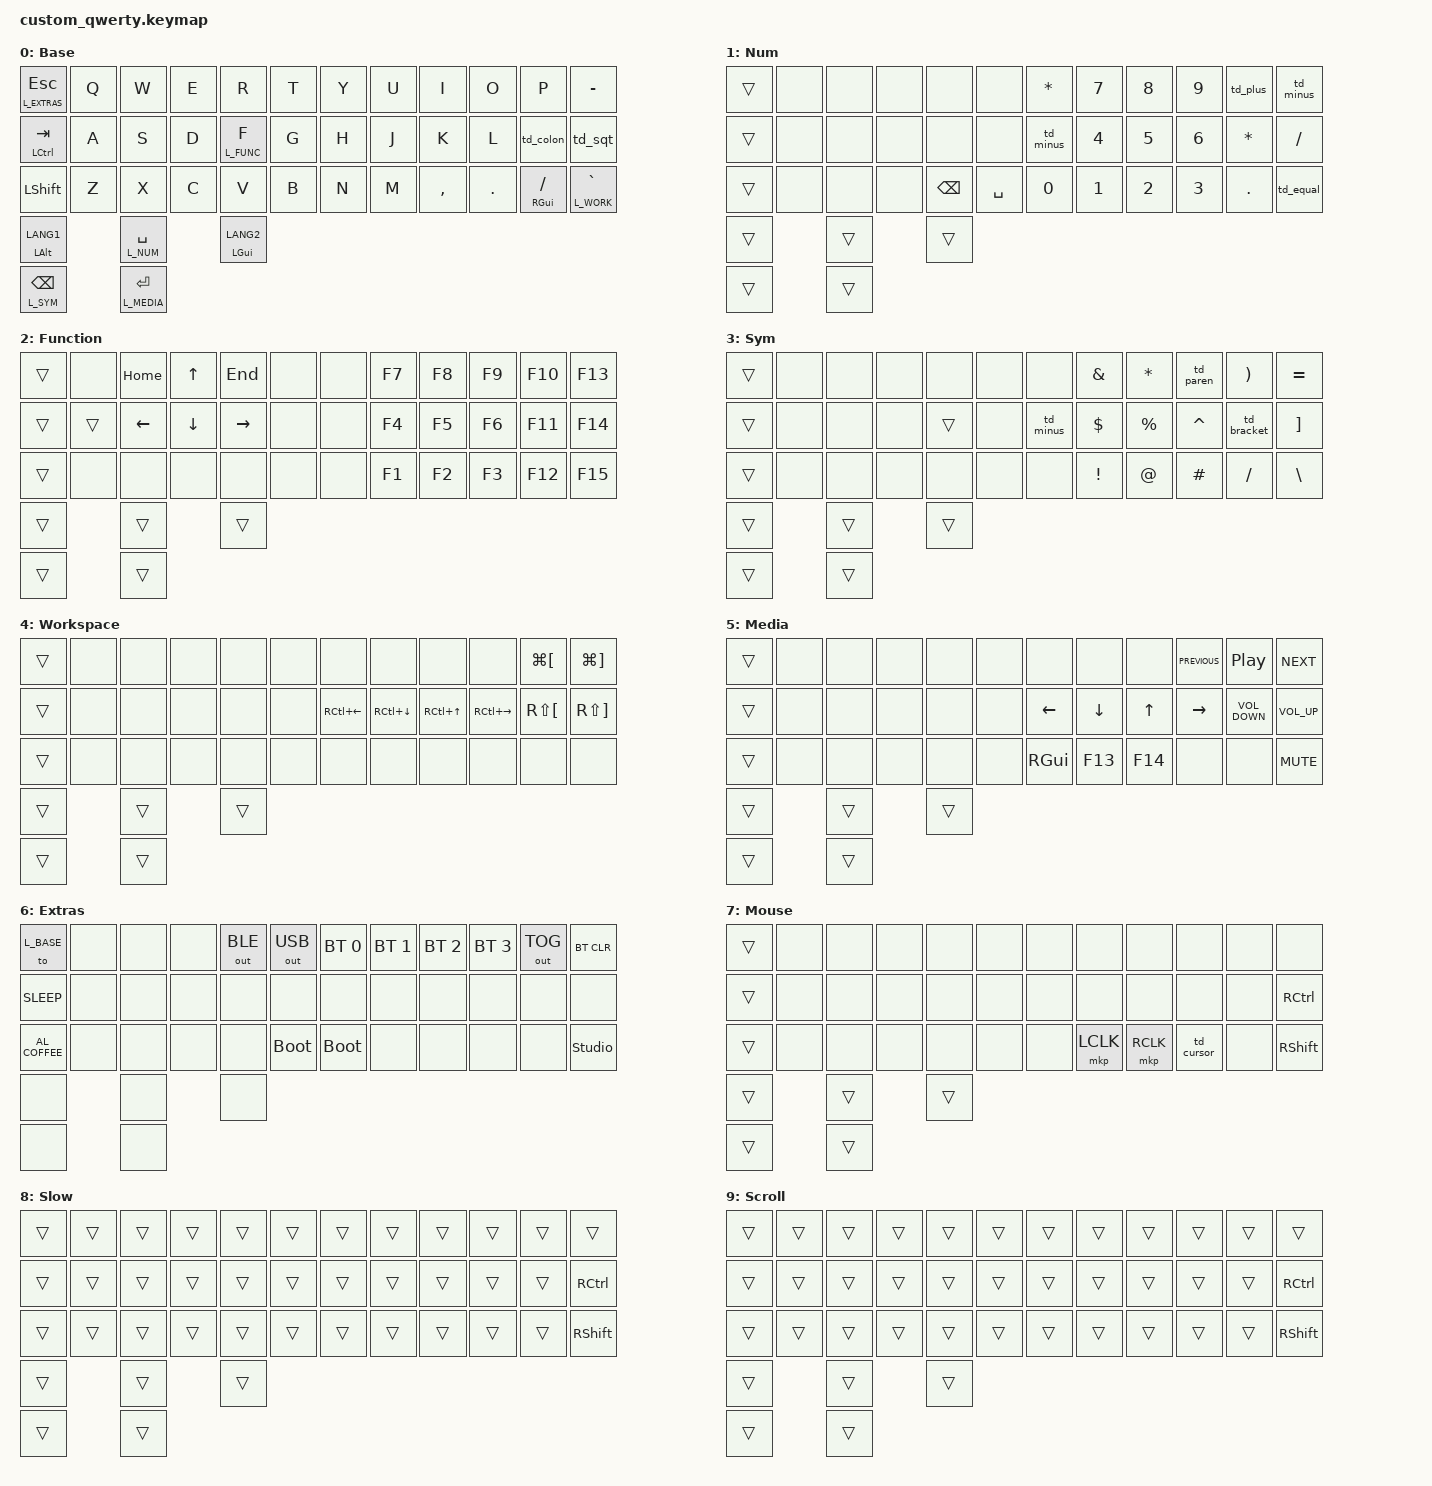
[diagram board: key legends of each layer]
#include <dt-bindings/zmk/mouse.h>
#include <behaviors/mouse_keys.dtsi>
#include <behaviors.dtsi>
#include <dt-bindings/zmk/bt.h>
#include <dt-bindings/zmk/keys.h>
#include <dt-bindings/zmk/outputs.h>
#include <dt-bindings/zmk/pointing.h>
#include <dt-bindings/zmk/input_transform.h>
#include <input/processors.dtsi>

#define L_BASE      0
#define L_NUM       1
#define L_FUNC      2
#define L_SYM       3
#define L_WORK      4
#define L_MEDIA     5
#define L_EXTRAS    6
#define L_MOUSE     7
#define L_SLOW      8
#define L_SCROLL    9

#define D_KANA      LANG1
#define D_EN        LANG2


/*-------------------------------------------------------
* combos
-------------------------------------------------------*/
/ {
    combos {
        compatible = "zmk,combos";
        // g+hでCapsLock
        CapsWord {
            bindings = <&caps_word>;
            key-positions = <17 18>;
            layers = <L_BASE>;
        };

        // ,+.でMiddleClic
        MiddleClick {
            bindings = <&mkp MCLK>;
            key-positions = <32 33>;
            layers = <L_MOUSE>;
        };
    };
};

/*-------------------------------------------------------
* macros
-------------------------------------------------------*/
/* " SPACE + 任意キー + SPACE " を作る共通マクロ */
#define WRAP_SYMBOL_MACRO(name, symbol_key) \
    name: name { \
        compatible = "zmk,behavior-macro"; \
        #binding-cells = <0>; \
        bindings = \
            <&macro_tap>, <&kp SPACE>, \
            <&macro_tap>, <&kp symbol_key>, \
            <&macro_tap>, <&kp SPACE>; \
    };

/* 括弧系を量産する共通マクロ: "()" */
#define WRAP_PAIR_MACRO(name, left_key, right_key) \
    name: name { \
        compatible = "zmk,behavior-macro"; \
        #binding-cells = <0>; \
        bindings = \
            <&macro_tap>, <&kp left_key>, \
            <&macro_tap>, <&kp right_key>, \
            <&macro_pause_for_release>, \
            <&macro_release>, <&kp LEFT_SHIFT>, \
            <&macro_release>, <&kp RIGHT_SHIFT>, \
            <&macro_tap>, <&kp LEFT_ARROW>; \
    };

/ {
    macros {
        WRAP_SYMBOL_MACRO(minus_macro,  MINUS) // " - "
        WRAP_SYMBOL_MACRO(equals_macro, EQUAL) // " = "
        WRAP_SYMBOL_MACRO(plus_macro,   PLUS)  // " + "
        WRAP_SYMBOL_MACRO(colon_macro,  COLON) // " : "

        WRAP_PAIR_MACRO(paren_macro,     LEFT_PARENTHESIS, RIGHT_PARENTHESIS) // ()
        WRAP_PAIR_MACRO(bracket_macro,   LEFT_BRACKET,     RIGHT_BRACKET)     // []
        WRAP_PAIR_MACRO(brace_macro,     LEFT_BRACE,       RIGHT_BRACE)       // {}
        WRAP_PAIR_MACRO(brace_sqt,       APOSTROPHE,       APOSTROPHE)        // ''
        WRAP_PAIR_MACRO(brace_dqt,       DQT,              DQT)               // ""

        // ホームディレクトリパス: "~/"（ファイルパス入力用）
        home_macro: home_macro {
            compatible = "zmk,behavior-macro";
            #binding-cells = <0>;
            bindings = <&macro_tap>, <&kp TILDE>, <&macro_tap>, <&kp FSLH>;
        };
    };
};

/*-------------------------------------------------------
* behaviors
-------------------------------------------------------*/

/ {
    behaviors {
        // シングルタップとダブルタップを設定
        #define TAP_DANCE(name, single_tap, double_tap) \
            name: name { \
                compatible = "zmk,behavior-tap-dance"; \
                #binding-cells = <0>; \
                tapping-term-ms = <300>; \
                bindings = single_tap, double_tap; \
            }

        // ホームローモッド（基本）: キーを押し続けると修飾キー、タップすると通常キー
        hm: homerow_mod {
            compatible = "zmk,behavior-hold-tap";
            #binding-cells = <2>;
            flavor = "tap-preferred"; //
            tapping-term-ms = <120>; // この時間以上押し続けると修飾キーとして動作
            quick-tap-ms = <150>; // この時間内に再度タップすると常に通常キーとして動作
            require-prior-idle-ms = <185>; // 前のキーからこの時間以上経過している必要がある
            bindings = <&kp>, <&kp>;

            // hold, tap
        };

        // 2レイヤー切り替え: ホールドでモーメンタリ、タップでトグル
        httl: ht_two_layers {
            compatible = "zmk,behavior-hold-tap";
            bindings = <&mo>, <&to>;
            #binding-cells = <2>;
            flavor = "balanced";
            tapping-term-ms = <125>;
        };

        // スクロール/カーソル切り替え: ホールドでSCROLL、タップでSLOW（legacy td_cursor）
        td_cursor: td_scroll_or_cursor {
            compatible = "zmk,behavior-tap-dance";
            #binding-cells = <0>;
            tapping-term-ms = <200>;
            bindings = <&mo L_SCROLL>, <&mo L_SLOW>;
        };

        // ベース/エクストラ切り替え: タップでレイヤー6、ダブルタップでレイヤー0
        td_bore: BASE_or_EXTRA {
            compatible = "zmk,behavior-tap-dance";
            #binding-cells = <0>;
            bindings = <&mo L_EXTRAS>, <&to L_BASE>;
        };

        /*-------------------------------------------------------
        * tap-dance
        -------------------------------------------------------*/
        TAP_DANCE(td_minus, <&kp MINUS>,<&minus_macro>); // " - "
        TAP_DANCE(td_equal, <&kp EQUAL>,<&equals_macro>); // " = "
        TAP_DANCE(td_plus,  <&kp PLUS>,  <&plus_macro>); // " + "
        TAP_DANCE(td_colon, <&kp SEMICOLON>,<&colon_macro>); // " : "

        TAP_DANCE(td_paren,   <&kp LEFT_PARENTHESIS>, <&paren_macro>); // ()
        TAP_DANCE(td_bracket, <&kp LEFT_BRACKET>,     <&bracket_macro>); // []
        TAP_DANCE(td_brace,   <&kp LEFT_BRACE>,       <&brace_macro>); // {}
        TAP_DANCE(td_sqt,     <&kp APOSTROPHE>,       <&brace_sqt>); // ''
    };
};

/ {
    keymap {
        compatible = "zmk,keymap";

        BASE {
            display-name = "Base";
            bindings = <
              &lt L_EXTRAS ESC &kp Q  &kp W  &kp E  &kp R          &kp T       &kp Y  &kp U  &kp I      &kp O       &kp P          &kp MINUS
              &hm LCTRL TAB    &kp A  &kp S  &kp D  &lt L_FUNC F   &kp G       &kp H  &kp J  &kp K      &kp L       &td_colon      &td_sqt
              &kp LEFT_SHIFT   &kp Z  &kp X  &kp C  &kp V          &kp B       &kp N  &kp M  &kp COMMA  &kp PERIOD  &hm RGUI FSLH  &lt L_WORK GRAVE

              &hm LALT  D_KANA     &lt L_NUM SPACE    &hm LGUI D_EN
              &lt L_SYM BACKSPACE  &lt L_MEDIA ENTER
            >;
        };

        NUM {
            display-name = "Num";
            bindings = <
              &trans  &none  &none  &none   &none          &none        &kp ASTRK    &kp NUMBER_7  &kp NUMBER_8  &kp NUMBER_9  &td_plus   &td_minus
              &trans  &none  &none  &none   &none          &none        &td_minus    &kp NUMBER_4  &kp NUMBER_5  &kp NUMBER_6  &kp ASTRK  &kp SLASH
              &trans  &none  &none  &none   &kp BACKSPACE  &kp SPACE    &kp NUMBER_0 &kp NUMBER_1  &kp NUMBER_2  &kp NUMBER_3  &kp DOT    &td_equal

              &trans  &trans  &trans
              &trans  &trans
            >;
        };

        FUNCTION {
            display-name = "Function";
            bindings = <
              &trans  &none   &kp HOME  &kp UP_ARROW    &kp END    &none     &none   &kp F7  &kp F8  &kp F9  &kp F10  &kp F13
              &trans  &trans  &kp LEFT  &kp DOWN_ARROW  &kp RIGHT  &none     &none   &kp F4  &kp F5  &kp F6  &kp F11  &kp F14
              &trans  &none   &none     &none           &none      &none     &none   &kp F1  &kp F2  &kp F3  &kp F12  &kp F15

              &trans  &trans  &trans
              &trans  &trans
            >;
        };

        SYM {
            display-name = "Sym";
            bindings = <
              &trans  &none  &none  &none   &none   &none     &none       &kp AMPS    &kp ASTERISK  &td_paren   &kp RIGHT_PARENTHESIS  &kp EQUAL
              &trans  &none  &none  &none   &trans  &none     &td_minus   &kp DOLLAR  &kp PERCENT   &kp CARET   &td_bracket            &kp RIGHT_BRACKET
              &trans  &none  &none  &none   &none   &none     &none       &kp EXCL    &kp AT        &kp HASH    &kp SLASH              &kp BSLH

              &trans  &trans  &trans
              &trans  &trans
            >;
        };

        WORKSPACE {
            display-name = "Workspace";
            bindings = <
              &trans  &none  &none  &none  &none  &none     &none         &none        &none      &none          &kp LG(LEFT_BRACKET) &kp LG(RIGHT_BRACKET)
              &trans  &none  &none  &none  &none  &none     &kp RC(LEFT)  &kp RC(DOWN) &kp RC(UP) &kp RC(RIGHT)  &kp RS(LEFT_BRACKET) &kp RS(RIGHT_BRACKET)
              &trans  &none  &none  &none  &none  &none     &none         &none        &none      &none          &none                &none

              &trans  &trans  &trans
              &trans  &trans
            >;
        };

        MEDIA {
            display-name = "Media";
            bindings = <
              &trans  &none  &none  &none  &none  &none     &none     &none     &none    &kp C_PREVIOUS  &kp C_PLAY_PAUSE   &kp C_NEXT
              &trans  &none  &none  &none  &none  &none     &kp LEFT  &kp DOWN  &kp UP   &kp RIGHT       &kp C_VOLUME_DOWN  &kp C_VOLUME_UP
              &trans  &none  &none  &none  &none  &none     &kp RGUI  &kp F13   &kp F14  &none           &none              &kp K_MUTE

              &trans  &trans  &trans
              &trans  &trans
            >;
        };

        EXTRAS {
            display-name = "Extras";
            bindings = <
              &to L_BASE       &none  &none  &none  &out OUT_BLE  &out OUT_USB    &bt BT_SEL 0  &bt BT_SEL 1  &bt BT_SEL 2  &bt BT_SEL 3  &out OUT_TOG  &bt BT_CLR
              &kp C_SLEEP      &none  &none  &none  &none         &none           &none         &none         &none         &none         &none         &none
              &kp C_AL_COFFEE  &none  &none  &none  &none         &bootloader     &bootloader   &none         &none         &none         &none         &studio_unlock
              &none  &none  &none
              &none  &none
            >;
        };

        MOUSE {
            display-name = "Mouse";
            bindings = <
              &trans  &none   &none  &none  &none  &none        &none   &none      &none      &none       &none  &none
              &trans  &none   &none  &none  &none  &none        &none   &none      &none      &none       &none  &kp RCTRL
              &trans  &none   &none  &none  &none  &none        &none   &mkp LCLK  &mkp RCLK  &td_cursor  &none  &kp RIGHT_SHIFT

              &trans  &trans  &trans
              &trans  &trans
            >;
        };

        SLOW {
            display-name = "Slow";
            bindings = <
              &trans  &trans  &trans  &trans  &trans  &trans    &trans  &trans  &trans  &trans  &trans  &trans
              &trans  &trans  &trans  &trans  &trans  &trans    &trans  &trans  &trans  &trans  &trans  &kp RCTRL
              &trans  &trans  &trans  &trans  &trans  &trans    &trans  &trans  &trans  &trans  &trans  &kp RIGHT_SHIFT

              &trans  &trans  &trans
              &trans  &trans
            >;
        };

        SCROLL {
            display-name = "Scroll";
            bindings = <
              &trans  &trans  &trans  &trans  &trans  &trans    &trans  &trans  &trans  &trans  &trans  &trans
              &trans  &trans  &trans  &trans  &trans  &trans    &trans  &trans  &trans  &trans  &trans  &kp RCTRL
              &trans  &trans  &trans  &trans  &trans  &trans    &trans  &trans  &trans  &trans  &trans  &kp RIGHT_SHIFT

              &trans  &trans  &trans
              &trans  &trans
            >;
        };
    };
};

/*
 * Auto mouse layer (AML) — Input Processor style (Zenn kot149)
 * zip_temp_layer is chained on &trackball_listener in charybdis_pointer.dtsi.
 */
&zip_temp_layer {
    excluded-positions = <
        31 32 33
        12 24 39
    >;
    require-prior-idle-ms = <200>;
};

&mkp_input_listener {
    input-processors = <&zip_temp_layer 7 5000>;
};
